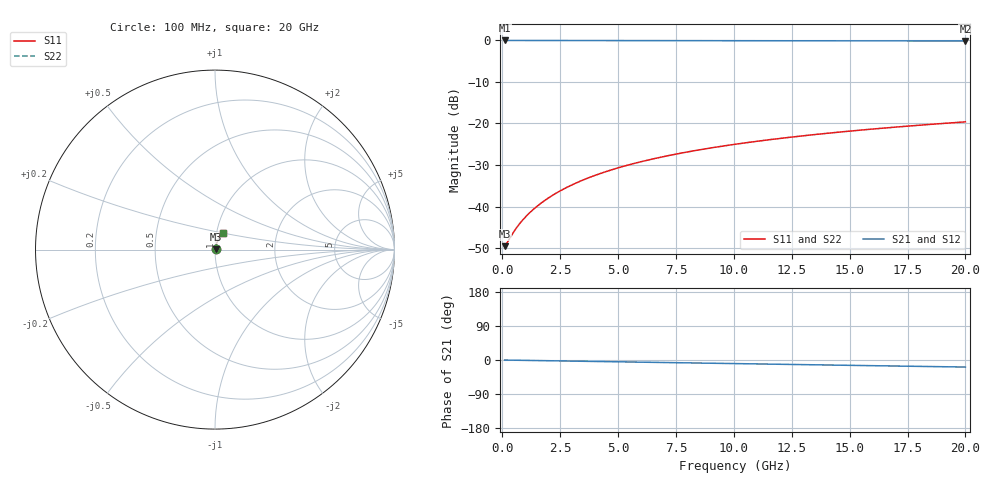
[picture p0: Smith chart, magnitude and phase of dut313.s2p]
! Touchstone file exported from HFSS 2026.1.0
!  File:  C:/ffzhzh/LocalFiles/Ansys_Project_Files/temp_train_BSMRDL_313_1783010696_53980.aedt
!  Generated:  12:46:10 AM Jul  3, 2026
!  Design:  BSMRDL
!  Project:  temp_train_BSMRDL_313_1783010696_53980
! Variables:
!  h_bsmrdl = 3.17um
!  h_ox = 20um
!  h_rdl = 5um
!  h_sub = 80um
!  h_tmrdl = 5um
!  h_tsv = 80um
!  h_via = 3um
!  l_bsmrdl = 314.39um
!  l_sub = 714.39um
!  l_tmrdl = 200um
!  m_sub = 200um
!  pitch = 17.56um
!  r_tsv = 6um
!  s_tmrdl = 10um
!  w_bsmrdl = 11.29um
!  w_sub = 500um
!  w_tmrdl = 12um
!  x_tsv_center1 = 206um
!  x_tsv_center2 = 531.68um
!  x_tsv_center3 = 743.68um
!  x_tsv_center4 = 1069.36um
!  x_tsv_center5 = 1281.36um
!  x_tsv_center6 = 1607.04um
# GHz S MA R 50.000000
! Terminal data exported
! Port[1] = BSM_RDL1_1_T1
! Port[2] = BSM_RDL1_1_T2
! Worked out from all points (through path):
!   200 points, 100 MHz to 20 GHz, reference 50 ohm
!   highest |S21| = -0.03 dB at 100 MHz (marker M1); lowest = -0.2 dB at 20 GHz (marker M2)
!   group delay of S21, straight-line fit = 2.58 ps
!   lowest |S11| = -49.5 dB at 100 MHz (marker M3), VSWR 1.01, Z = 50.3 + j0.0751 ohm
!   |S11| at or under -10 dB: start of sweep to end of sweep
!   |S22| runs from -49.5 to -19.6 dB; largest |S21 - S12| = 2.6e-15
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0.1  0.003338 12.9  0.9967 -0.1  0.9967 -0.1  0.003338 12.9
! Gamma 0 0 0 0
! Port Impedance 50 0 50 0
0.2  0.003642 23.6  0.9967 -0.2  0.9967 -0.2  0.003642 23.6
0.5  0.004985 42.7  0.9963 -0.5  0.9963 -0.5  0.004988 42.7
0.7  0.005978 49.7  0.9961 -0.7  0.9961 -0.7  0.005979 49.7
1  0.007497 56.6  0.9959 -1.0  0.9959 -1.0  0.007495 56.6
1.2  0.008522 59.9  0.9958 -1.2  0.9958 -1.2  0.00852 59.8
1.4  0.009558 62.4  0.9957 -1.4  0.9957 -1.4  0.009556 62.4
1.8  0.01167 66.3  0.9956 -1.8  0.9956 -1.8  0.01166 66.3
2.3  0.01435 69.4  0.9954 -2.2  0.9954 -2.2  0.01435 69.4
2.9  0.01763 71.7  0.9951 -2.8  0.9951 -2.8  0.01763 71.7
3.5  0.02094 73.1  0.9949 -3.4  0.9949 -3.4  0.02094 73.1
4.2  0.02481 74.0  0.9946 -4.0  0.9946 -4.0  0.02481 74.0
5  0.02922 74.4  0.9941 -4.8  0.9941 -4.8  0.02922 74.4
5.9  0.03415 74.5  0.9936 -5.7  0.9936 -5.7  0.03415 74.5
6.8  0.03903 74.3  0.993 -6.5  0.993 -6.5  0.03903 74.3
8.3  0.04703 73.6  0.992 -7.9  0.992 -7.9  0.04703 73.6
10.1  0.05642 72.5  0.9906 -9.6  0.9906 -9.6  0.05642 72.5
11.7  0.06457 71.3  0.9894 -11.1  0.9894 -11.1  0.06457 71.3
13.4  0.07305 70.1  0.988 -12.6  0.988 -12.6  0.07305 70.1
15  0.08088 68.8  0.9868 -14.1  0.9868 -14.1  0.08088 68.8
16.7  0.08904 67.5  0.9854 -15.6  0.9854 -15.6  0.08905 67.5
20  0.1045 64.9  0.9828 -18.6  0.9828 -18.6  0.1045 64.9
